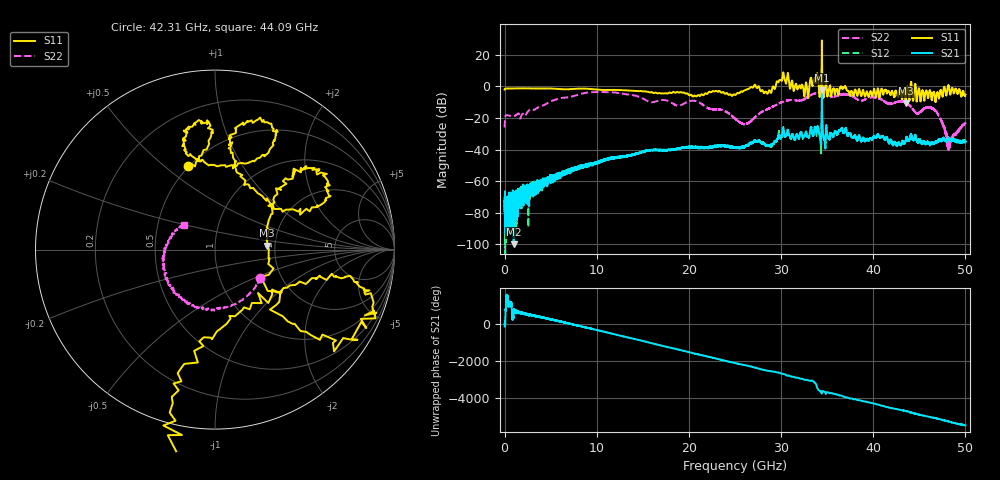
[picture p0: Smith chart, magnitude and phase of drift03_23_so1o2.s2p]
!Created with skrf (http://scikit-rf.org).
# Hz S RI R 50.0
!freq ReS11 ImS11 ReS21 ImS21 ReS12 ImS12 ReS22 ImS22
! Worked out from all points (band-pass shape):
!   10000 points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, 5.3 MHz to 50 GHz, reference 50 ohm
!   highest |S21| = -2.48 dB at 34.43 GHz (marker M1); lowest = -99.8 dB at 990.3 MHz (marker M2)
!   |S21| within 3 dB of the highest: 34.42759 GHz to 34.43446 GHz (6.867 MHz wide, 0.0199 % of centre)
!   lowest |S11| = -10.7 dB at 43.52 GHz (marker M3), VSWR 1.83, Z = 91 + j4.18 ohm
!   |S11| at or under -10 dB: 43.49401 GHz to 43.49727 GHz (3.256 MHz wide, 0.00749 % of centre); 43.50113 GHz to 43.54138 GHz (40.25 MHz wide, 0.0925 % of centre); 43.55225 GHz to 43.55633 GHz (4.08 MHz wide, 0.00937 % of centre)
!   |S22| runs from -40.2 to -3.6 dB; largest |S21 - S12| = 0.24
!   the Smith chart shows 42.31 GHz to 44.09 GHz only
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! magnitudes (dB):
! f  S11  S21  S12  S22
! 5.3 MHz  -2.1  -70.7  -79.6  -26.0
! 990.3 MHz  -1.4  -99.8  -74.2  -18.9
! 8.34 GHz  -1.5  -50.8  -50.5  -4.7
! 16.67 GHz  -4.4  -40.3  -40.3  -9.1
! 20.73 GHz  -6.2  -38.8  -39.1  -9.3
! 25.01 GHz  -5.5  -38.5  -38.8  -20.5
! 26.23 GHz  -2.2  -37.3  -37.7  -23.8
! 27.35 GHz  -1.0  -35.0  -34.9  -18.6
! 28.72 GHz  -2.5  -37.6  -37.6  -14.0
! 30.14 GHz  4.4  -29.7  -29.8  -10.0
! 32.74 GHz  2.0  -29.7  -29.3  -7.3
! 33.34 GHz  2.6  -27.4  -27.5  -5.3
! 33.82 GHz  3.9  -29.1  -29.5  -4.4
! 34.43 GHz  28.9  -2.5  -4.5  -4.0
! 36.49 GHz  -0.2  -27.9  -28.0  -5.4
! 38.88 GHz  -2.4  -32.7  -32.5  -8.9
! 41.67 GHz  -3.1  -35.6  -35.5  -11.1
! 43.52 GHz  -10.7  -34.5  -34.6  -10.3
! 44.75 GHz  -8.8  -34.8  -34.6  -16.9
! 46.67 GHz  -5.7  -35.4  -35.7  -14.9
! 48.22 GHz  -0.7  -33.1  -33.4  -36.5
! 50 GHz  -5.3  -35.4  -34.5  -23.4
